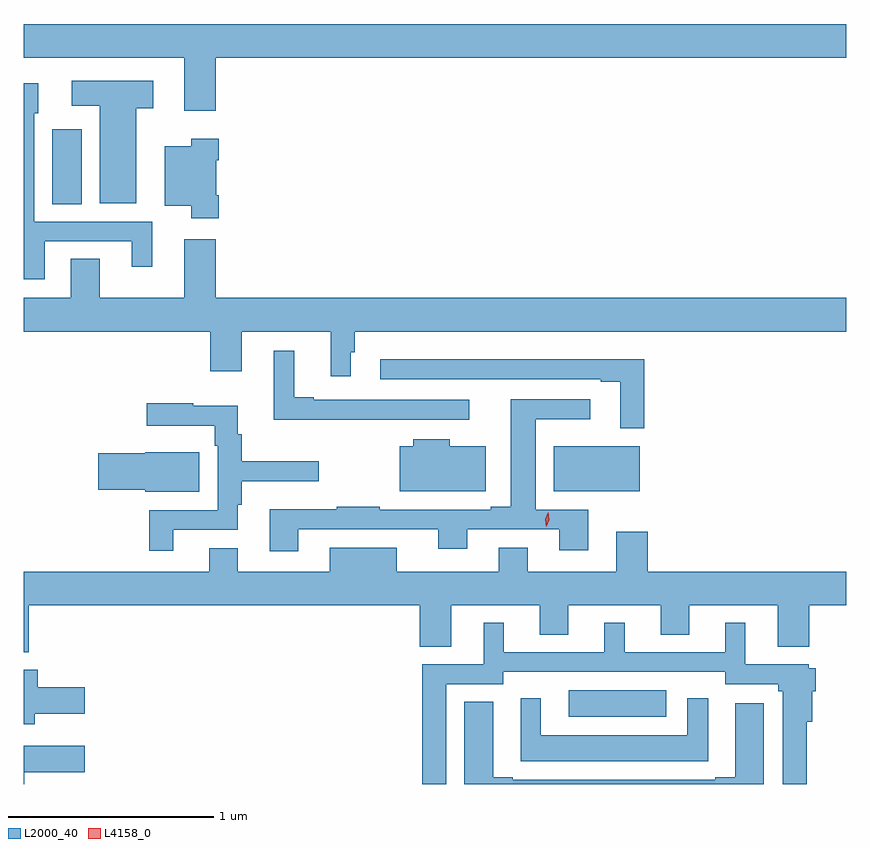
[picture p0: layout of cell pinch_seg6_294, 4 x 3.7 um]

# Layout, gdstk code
import gdstk
lib = gdstk.Library(unit=1e-6, precision=1e-09)
def R(c, l, rs):  # rectangles x0, y0, x1, y1
    for r in rs: c.add(gdstk.rectangle(r[:2], r[2:], *l))
def P(c, l, *ps):  # polygons
    for p in ps: c.add(gdstk.Polygon(p, *l))
L2000_40 = (2000, 40)
L4158_0 = (4158, 0)

pinch_seg6_294 = lib.new_cell('pinch_seg6_294')
R(pinch_seg6_294, L2000_40, [(773.925,976.097,774.4,976.228), (773.852,977.195,774.271,977.413), (771.413,978.592,771.556,978.955)])
P(pinch_seg6_294, L2000_40, [(772.208,979.304),(775.274,979.304),(775.274,979.468),(771.274,979.468),(771.274,979.304),(772.055,979.304),(772.055,979.047),(772.208,979.047)],
  [(771.82,979.058),(771.904,979.058),(771.904,979.192),(771.507,979.192),(771.507,979.07),(771.644,979.07),(771.644,978.596),(771.82,978.596)],
  [(771.376,978.411),(771.8,978.411),(771.8,978.288),(771.898,978.288),(771.898,978.507),(771.324,978.507),(771.324,979.035),(771.343,979.035),(771.343,979.18),(771.274,979.18),(771.274,978.227),(771.376,978.227)],
  [(772.223,978.634),(772.21,978.634),(772.21,978.806),(772.223,978.806),(772.223,978.91),(772.088,978.91),(772.088,978.874),(771.959,978.874),(771.959,978.584),(772.088,978.584),(772.088,978.522),(772.223,978.522)],
  [(772.864,977.871),(772.883,977.871),(772.883,977.972),(775.274,977.972),(775.274,978.136),(772.208,978.136),(772.208,978.421),(772.055,978.421),(772.055,978.136),(771.643,978.136),(771.643,978.326),(771.503,978.326),(771.503,978.136),(771.274,978.136),(771.274,977.972),(772.181,977.972),(772.181,977.778),(772.333,977.778),(772.333,977.972),(772.766,977.972),(772.766,977.754),(772.864,977.754)],
  [(772.894,977.544),(773.44,977.544),(773.44,977.64),(772.684,977.64),(772.684,977.653),(772.589,977.653),(772.589,977.878),(772.49,977.878),(772.49,977.543),(772.894,977.543)],
  [(774.293,977.836),(773.007,977.836),(773.007,977.739),(774.08,977.739),(774.08,977.727),(774.176,977.727),(774.176,977.502),(774.293,977.502)],
  [(772.609,977.01),(773.291,977.01),(773.291,976.916),(773.431,976.916),(773.431,977.01),(773.879,977.01),(773.879,976.908),(774.019,976.908),(774.019,977.106),(773.764,977.106),(773.764,977.546),(774.028,977.546),(774.028,977.643),(773.642,977.643),(773.642,977.12),(773.546,977.12),(773.546,977.106),(773.006,977.106),(773.006,977.119),(772.795,977.119),(772.795,977.107),(772.469,977.107),(772.469,976.902),(772.609,976.902)],
  [(772,977.007),(772.315,977.007),(772.315,977.129),(772.334,977.129),(772.334,977.243),(772.708,977.243),(772.708,977.342),(772.334,977.342),(772.334,977.472),(772.315,977.472),(772.315,977.611),(772.098,977.611),(772.098,977.623),(771.873,977.623),(771.873,977.514),(772.203,977.514),(772.203,977.417),(772.218,977.417),(772.218,977.103),(771.883,977.103),(771.883,976.905),(772,976.905)],
  [(773.417,977.196),(773.52,977.196),(773.52,977.413),(773.346,977.413),(773.346,977.449),(773.168,977.449),(773.168,977.413),(773.102,977.413),(773.102,977.195),(773.417,977.195)],
  [(772.128,977.385),(771.864,977.385),(771.864,977.381),(771.636,977.381),(771.636,977.203),(771.864,977.203),(771.864,977.192),(772.128,977.192)],
  [(771.299,976.64),(773.201,976.64),(773.201,976.438),(773.353,976.438),(773.353,976.64),(773.783,976.64),(773.783,976.498),(773.923,976.498),(773.923,976.64),(774.371,976.64),(774.371,976.498),(774.511,976.498),(774.511,976.64),(774.941,976.64),(774.941,976.438),(775.094,976.438),(775.094,976.64),(775.274,976.64),(775.274,976.804),(774.308,976.804),(774.308,976.999),(774.155,976.999),(774.155,976.804),(773.725,976.804),(773.725,976.921),(773.585,976.921),(773.585,976.804),(773.089,976.804),(773.089,976.921),(772.763,976.921),(772.763,976.804),(772.315,976.804),(772.315,976.918),(772.175,976.918),(772.175,976.804),(771.274,976.804),(771.274,976.412),(771.299,976.412)],
  [(773.328,976.257),(773.607,976.257),(773.607,976.317),(774.687,976.317),(774.687,976.257),(774.944,976.257),(774.944,976.221),(774.966,976.221),(774.966,975.771),(775.082,975.771),(775.082,976.073),(775.109,976.073),(775.109,976.221),(775.127,976.221),(775.127,976.335),(775.092,976.335),(775.092,976.353),(774.784,976.353),(774.784,976.555),(774.686,976.555),(774.686,976.413),(774.196,976.413),(774.196,976.555),(774.098,976.555),(774.098,976.413),(773.608,976.413),(773.608,976.555),(773.51,976.555),(773.51,976.353),(773.212,976.353),(773.212,975.771),(773.328,975.771)],
  [(771.328,976.112),(771.571,976.112),(771.571,976.242),(771.341,976.242),(771.341,976.327),(771.274,976.327),(771.274,976.061),(771.328,976.061)],
  [(774.604,976.189),(774.5,976.189),(774.5,976.009),(773.788,976.009),(773.788,976.189),(773.69,976.189),(773.69,975.881),(774.604,975.881)],
  [(774.874,976.165),(774.734,976.165),(774.734,975.805),(774.638,975.805),(774.638,975.792),(773.653,975.792),(773.653,975.805),(773.557,975.805),(773.557,976.171),(773.417,976.171),(773.417,975.771),(774.874,975.771)],
  [(771.277,975.829),(771.571,975.829),(771.571,975.958),(771.274,975.958),(771.274,975.771),(771.277,975.771)])
P(pinch_seg6_294, L4158_0, [(773.816,977.023),(773.816,977.023),(773.81,977.06),(773.824,977.093),(773.824,977.094),(773.824,977.093),(773.83,977.057),(773.816,977.023)])

lib.write_gds('pinch_seg6_294.gds')
